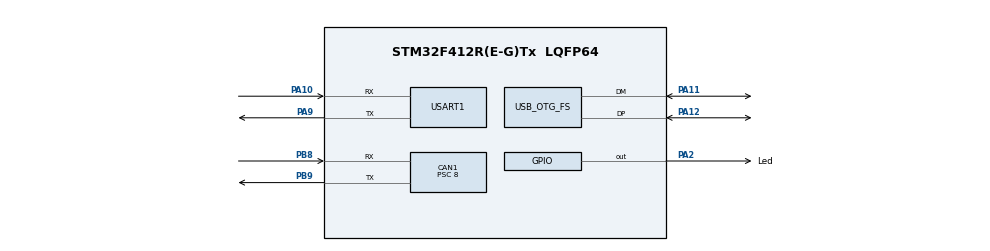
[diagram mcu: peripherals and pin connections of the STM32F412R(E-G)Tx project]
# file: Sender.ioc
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CAN1.BS1=CAN_BS1_2TQ
CAN1.CalculateBaudRate=500000
CAN1.CalculateTimeBit=2000
CAN1.CalculateTimeQuantum=500.0
CAN1.Prescaler=8
Mcu.Family=STM32F4
Mcu.Name=STM32F412R(E-G)Tx
Mcu.Package=LQFP64
NVIC.PriorityGroup=NVIC_PRIORITYGROUP_4
PA10.Mode=Asynchronous
PA10.Signal=USART1_RX
PA11.Mode=Device_Only
PA11.Signal=USB_OTG_FS_DM
PA12.Mode=Device_Only
PA12.Signal=USB_OTG_FS_DP
PA13.Mode=Trace_Asynchronous_SW
PA13.Signal=SYS_JTMS-SWDIO
PA14.Mode=Trace_Asynchronous_SW
PA14.Signal=SYS_JTCK-SWCLK
PA2.GPIO_Label=Led
PA2.Signal=GPIO_Output
PA9.Mode=Asynchronous
PA9.Signal=USART1_TX
PB3.Mode=Trace_Asynchronous_SW
PB3.Signal=SYS_JTDO-SWO
PB8.Mode=CAN_Activate
PB8.Signal=CAN1_RX
PB9.Mode=CAN_Activate
PB9.Signal=CAN1_TX
PH0\ -\ OSC_IN.Mode=HSE-External-Oscillator
PH0\ -\ OSC_IN.Signal=RCC_OSC_IN
PH1\ -\ OSC_OUT.Mode=HSE-External-Oscillator
PH1\ -\ OSC_OUT.Signal=RCC_OSC_OUT
ProjectManager.HeapSize=0x200
ProjectManager.StackSize=0x400
ProjectManager.TargetToolchain=STM32CubeIDE
RCC.CortexFreq_Value=16000000
RCC.PLLM=15
RCC.PLLN=144
RCC.PLLQ=5
RCC.USBFreq_Value=48000000
RCC.VCOOutputFreq_Value=240000000
USART1.VirtualMode=VM_ASYNC
USB_OTG_FS.VirtualMode=Device_Only
board=custom

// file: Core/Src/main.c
/* USER CODE BEGIN Header */
/**
  ******************************************************************************
  * @file           : main.c
  * @brief          : Main program body
  ******************************************************************************
  * @attention
  *
  * Copyright (c) 2022 STMicroelectronics.
  * All rights reserved.
  *
  * This software is licensed under terms that can be found in the LICENSE file
  * in the root directory of this software component.
  * If no LICENSE file comes with this software, it is provided AS-IS.
  *
  ******************************************************************************
  */
/* USER CODE END Header */
#include "main.h"
#include <stdio.h>

/* USER CODE BEGIN PTD */
union FloatData
{
	float Number;
	uint8_t Data[4];
}FData;
/* USER CODE END PTD */

CAN_HandleTypeDef hcan1;

UART_HandleTypeDef huart1;

PCD_HandleTypeDef hpcd_USB_OTG_FS;

/* USER CODE BEGIN PV */
// Transition header example
CAN_TxHeaderTypeDef TxHeader;
uint32_t MailBox;
uint8_t TxData[8];
// Receive header example
CAN_RxHeaderTypeDef RxHeader;
uint8_t RxData[8];
// Received Float
float RxNumber;
/* USER CODE END PV */

void SystemClock_Config(void);
static void MX_GPIO_Init(void);
static void MX_CAN1_Init(void);
static void MX_USB_OTG_FS_PCD_Init(void);
static void MX_USART1_UART_Init(void);

int main(void)
{

  /* MCU Configuration--------------------------------------------------------*/

  /* Reset of all peripherals, Initializes the Flash interface and the Systick. */
  HAL_Init();

  /* Configure the system clock */
  SystemClock_Config();

  /* Initialize all configured peripherals */
  MX_GPIO_Init();
  MX_CAN1_Init();
  MX_USB_OTG_FS_PCD_Init();
  MX_USART1_UART_Init();
  /* USER CODE BEGIN 2 */
  HAL_CAN_Start(&hcan1);
  HAL_CAN_ActivateNotification(&hcan1,CAN_IT_RX_FIFO0_MSG_PENDING);

  TxHeader.StdId = 0x406;
  TxHeader.DLC = 8;
  TxHeader.IDE = CAN_ID_STD;
  TxHeader.RTR = CAN_RTR_DATA;

  FData.Number = 0.0012345;
  TxData[0] = FData.Data[0];
  TxData[1] = FData.Data[1];
  TxData[2] = FData.Data[2];
  TxData[3] = FData.Data[3];

  FData.Number = 0.54321;
  TxData[4] = FData.Data[0];
  TxData[5] = FData.Data[1];
  TxData[6] = FData.Data[2];
  TxData[7] = FData.Data[3];
  /* USER CODE END 2 */

  /* Infinite loop */
  while (1)
  {
	HAL_CAN_AddTxMessage(&hcan1,&TxHeader,TxData,&MailBox);
	HAL_GPIO_TogglePin(Led_GPIO_Port,Led_Pin);
	HAL_Delay(500);
  }
}

void SystemClock_Config(void)
{
  RCC_OscInitTypeDef RCC_OscInitStruct = {0};
  RCC_ClkInitTypeDef RCC_ClkInitStruct = {0};

  /** Configure the main internal regulator output voltage
  */
  __HAL_RCC_PWR_CLK_ENABLE();
  __HAL_PWR_VOLTAGESCALING_CONFIG(PWR_REGULATOR_VOLTAGE_SCALE1);

  /** Initializes the RCC Oscillators according to the specified parameters
  * in the RCC_OscInitTypeDef structure.
  */
  RCC_OscInitStruct.OscillatorType = RCC_OSCILLATORTYPE_HSI|RCC_OSCILLATORTYPE_HSE;
  RCC_OscInitStruct.HSEState = RCC_HSE_ON;
  RCC_OscInitStruct.HSIState = RCC_HSI_ON;
  RCC_OscInitStruct.HSICalibrationValue = RCC_HSICALIBRATION_DEFAULT;
  RCC_OscInitStruct.PLL.PLLState = RCC_PLL_ON;
  RCC_OscInitStruct.PLL.PLLSource = RCC_PLLSOURCE_HSE;
  RCC_OscInitStruct.PLL.PLLM = 15;
  RCC_OscInitStruct.PLL.PLLN = 144;
  RCC_OscInitStruct.PLL.PLLP = RCC_PLLP_DIV2;
  RCC_OscInitStruct.PLL.PLLQ = 5;
  RCC_OscInitStruct.PLL.PLLR = 2;
  if (HAL_RCC_OscConfig(&RCC_OscInitStruct) != HAL_OK)
  {
    Error_Handler();
  }

  /** Initializes the CPU, AHB and APB buses clocks
  */
  RCC_ClkInitStruct.ClockType = RCC_CLOCKTYPE_HCLK|RCC_CLOCKTYPE_SYSCLK
                              |RCC_CLOCKTYPE_PCLK1|RCC_CLOCKTYPE_PCLK2;
  RCC_ClkInitStruct.SYSCLKSource = RCC_SYSCLKSOURCE_HSI;
  RCC_ClkInitStruct.AHBCLKDivider = RCC_SYSCLK_DIV1;
  RCC_ClkInitStruct.APB1CLKDivider = RCC_HCLK_DIV1;
  RCC_ClkInitStruct.APB2CLKDivider = RCC_HCLK_DIV1;

  if (HAL_RCC_ClockConfig(&RCC_ClkInitStruct, FLASH_LATENCY_0) != HAL_OK)
  {
    Error_Handler();
  }
}

static void MX_CAN1_Init(void)
{

  hcan1.Instance = CAN1;
  hcan1.Init.Prescaler = 8;
  hcan1.Init.Mode = CAN_MODE_NORMAL;
  hcan1.Init.SyncJumpWidth = CAN_SJW_1TQ;
  hcan1.Init.TimeSeg1 = CAN_BS1_2TQ;
  hcan1.Init.TimeSeg2 = CAN_BS2_1TQ;
  hcan1.Init.TimeTriggeredMode = DISABLE;
  hcan1.Init.AutoBusOff = DISABLE;
  hcan1.Init.AutoWakeUp = DISABLE;
  hcan1.Init.AutoRetransmission = ENABLE;
  hcan1.Init.ReceiveFifoLocked = DISABLE;
  hcan1.Init.TransmitFifoPriority = DISABLE;
  if (HAL_CAN_Init(&hcan1) != HAL_OK)
  {
    Error_Handler();
  }
  /* USER CODE BEGIN CAN1_Init 2 */
  CAN_FilterTypeDef CAN_Filt;

  CAN_Filt.FilterActivation = CAN_FILTER_ENABLE;
  CAN_Filt.FilterBank = 18;  // which filter bank to use from the assigned ones
  CAN_Filt.FilterFIFOAssignment = CAN_FILTER_FIFO0;
  CAN_Filt.FilterIdHigh = 0xFFF<<5;
  CAN_Filt.FilterIdLow = 0;
  CAN_Filt.FilterMaskIdHigh = 0xFFF<<5;
  CAN_Filt.FilterMaskIdLow = 0x0000;
  CAN_Filt.FilterMode = CAN_FILTERMODE_IDMASK;
  CAN_Filt.FilterScale = CAN_FILTERSCALE_32BIT;
  CAN_Filt.SlaveStartFilterBank = 20;  // how many filters to assign to the CAN1 (master can)

  HAL_CAN_ConfigFilter(&hcan1, &CAN_Filt);
  /* USER CODE END CAN1_Init 2 */

}

static void MX_USART1_UART_Init(void)
{

  huart1.Instance = USART1;
  huart1.Init.BaudRate = 115200;
  huart1.Init.WordLength = UART_WORDLENGTH_8B;
  huart1.Init.StopBits = UART_STOPBITS_1;
  huart1.Init.Parity = UART_PARITY_NONE;
  huart1.Init.Mode = UART_MODE_TX_RX;
  huart1.Init.HwFlowCtl = UART_HWCONTROL_NONE;
  huart1.Init.OverSampling = UART_OVERSAMPLING_16;
  if (HAL_UART_Init(&huart1) != HAL_OK)
  {
    Error_Handler();
  }

}

static void MX_USB_OTG_FS_PCD_Init(void)
{

  hpcd_USB_OTG_FS.Instance = USB_OTG_FS;
  hpcd_USB_OTG_FS.Init.dev_endpoints = 6;
  hpcd_USB_OTG_FS.Init.speed = PCD_SPEED_FULL;
  hpcd_USB_OTG_FS.Init.dma_enable = DISABLE;
  hpcd_USB_OTG_FS.Init.phy_itface = PCD_PHY_EMBEDDED;
  hpcd_USB_OTG_FS.Init.Sof_enable = DISABLE;
  hpcd_USB_OTG_FS.Init.low_power_enable = DISABLE;
  hpcd_USB_OTG_FS.Init.lpm_enable = DISABLE;
  hpcd_USB_OTG_FS.Init.battery_charging_enable = DISABLE;
  hpcd_USB_OTG_FS.Init.vbus_sensing_enable = DISABLE;
  hpcd_USB_OTG_FS.Init.use_dedicated_ep1 = DISABLE;
  if (HAL_PCD_Init(&hpcd_USB_OTG_FS) != HAL_OK)
  {
    Error_Handler();
  }

}

static void MX_GPIO_Init(void)
{
  GPIO_InitTypeDef GPIO_InitStruct = {0};

  /* GPIO Ports Clock Enable */
  __HAL_RCC_GPIOH_CLK_ENABLE();
  __HAL_RCC_GPIOA_CLK_ENABLE();
  __HAL_RCC_GPIOB_CLK_ENABLE();

  /*Configure GPIO pin Output Level */
  HAL_GPIO_WritePin(Led_GPIO_Port, Led_Pin, GPIO_PIN_RESET);

  /*Configure GPIO pin : Led_Pin */
  GPIO_InitStruct.Pin = Led_Pin;
  GPIO_InitStruct.Mode = GPIO_MODE_OUTPUT_PP;
  GPIO_InitStruct.Pull = GPIO_NOPULL;
  GPIO_InitStruct.Speed = GPIO_SPEED_FREQ_LOW;
  HAL_GPIO_Init(Led_GPIO_Port, &GPIO_InitStruct);

}

/* USER CODE BEGIN 4 */
void HAL_CAN_RxFifo0MsgPendingCallback(CAN_HandleTypeDef *hcan)
{
	HAL_CAN_GetRxMessage(&hcan1,CAN_RX_FIFO0, &RxHeader, RxData);

	if (RxHeader.DLC == 8)
	{
		FData.Data[0] = RxData[0];
		FData.Data[1] = RxData[1];
		FData.Data[2] = RxData[2];
		FData.Data[3] = RxData[3];

		float Num1 = FData.Number;

		FData.Data[0] = RxData[4];
		FData.Data[1] = RxData[5];
		FData.Data[2] = RxData[6];
		FData.Data[3] = RxData[7];

		float Num2 = FData.Number;

		char MSG[50];

		sprintf(MSG,"%f %f",Num1,Num2);

		HAL_UART_Transmit(&huart1,(uint8_t *)MSG,50,1000);
		HAL_GPIO_TogglePin(Led_GPIO_Port,Led_Pin);
	}

}
/* USER CODE END 4 */

void Error_Handler(void)
{
  __disable_irq();
  while (1)
  {
  }
}
